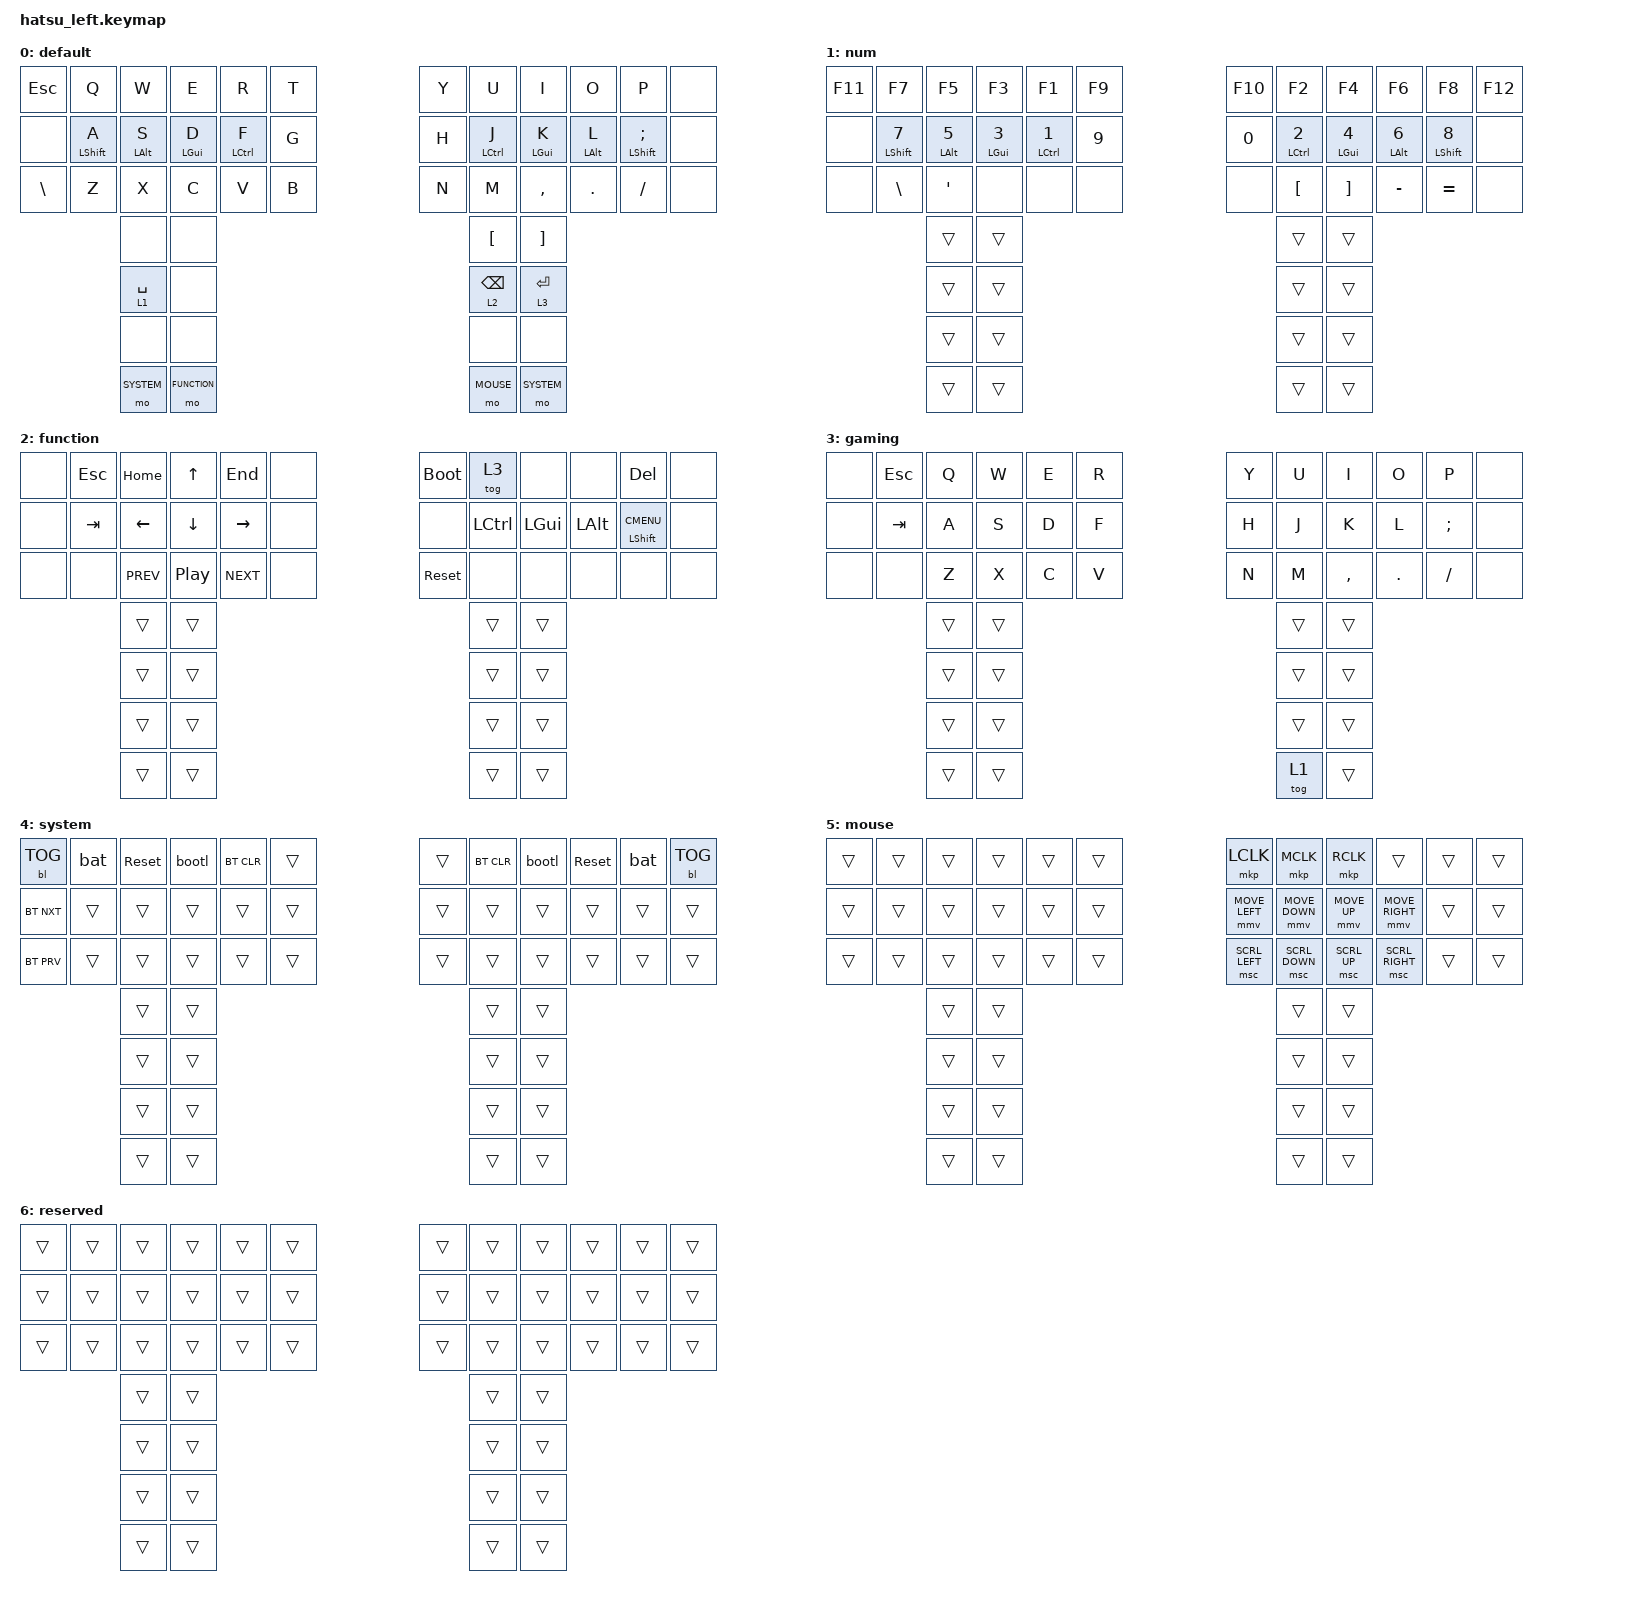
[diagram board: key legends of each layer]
#include <behaviors.dtsi>
#include <dt-bindings/zmk/keys.h>
#include <dt-bindings/zmk/outputs.h>
#include <dt-bindings/zmk/bt.h>
#include <dt-bindings/zmk/backlight.h>
#include <dt-bindings/zmk/pointing.h>

#define DEFAULT 0
#define FUNCTION 1
#define UPPER 2
#define LOWER 3
#define SYSTEM 4
#define MOUSE 5

/ {
    behaviors {
        bhm: bhm {
      compatible = "zmk,behavior-hold-tap";
      #binding-cells = <2>;
      tapping-term-ms = <200>;
      quick-tap-ms = <0>;
      flavor = "balanced";
      bindings = <&kp>, <&kp>;
    }; 

        bat: bat {
            compatible = "zmk,behavior-battery-indicator";
            display-name = "Battery Indicator";
            #binding-cells = <0>;
        };

        bootl: bootl {
            compatible = "hatsu,behavior-bootloader";
            display-name = "Bootloader";
            #binding-cells = <0>;
        };

        // Hidden GLOBAL behavior used to relay layer indicator colors to the
        // peripheral half; never bound to any key.
        lc: lc {
            compatible = "zmk,behavior-layer-color";
            display-name = "Layer Color Relay";
            #binding-cells = <0>;
        };
    };

    keymap {
        compatible = "zmk,keymap";
        layer_1 {
            label = "default";
            bindings = <
     		&kp ESC   &kp Q           &kp W         &kp E         &kp R         &kp T         &kp	Y       &kp U          &kp I         &kp O         &kp P &none
		&none  &bhm LSHIFT A   &bhm LALT S   &bhm LGUI D   &bhm LCTRL F  &kp G         &kp H       &bhm LCTRL J    &bhm LGUI K   &bhm LALT L   &bhm LSHIFT SEMI &none
		&kp BSLH  &kp Z           &kp X         &kp C         &kp V         &kp B         &kp N       &kp M           &kp CMMA      &kp DOT       &kp FSLH &none
                        &none &none                                 	 	&kp LBKT &kp RBKT
                        &lt 1 SPACE &none                           	&lt 2 BSPC &lt 3 ENTER
                        &none &none             	                     	&none 	 &none
                        &mo SYSTEM &mo FUNCTION                             	&mo MOUSE &mo SYSTEM
            >;
        };

        layer_2 {
            label = "num";
            bindings = <
        &kp F11 &kp F7         &kp F5        &kp F3        &kp F1        &kp F9        &kp F10     &kp F2          &kp  F4       &kp F6        &kp F8 &kp F12
        &none &bhm LSHIFT N7  &bhm LALT N5  &bhm LGUI N3  &bhm LCTRL N1 &kp N9        &kp N0      &bhm LCTRL N2   &bhm LGUI N4  &bhm LALT N6  &bhm LSHIFT N8 &none
        &none &kp BSLH        &kp SQT       &none         &none         &none         &none       &kp LBKT        &kp RBKT      &kp MINUS     &kp EQUAL &none
                        &trans &trans                                             &trans &trans
                        &trans &trans                                             &trans &trans
                        &trans &trans                                             &trans &trans
                        &trans &trans                                             &trans &trans
            >;
        };

        layer_3 {
            label = "function";
            bindings = <
        &none &kp ESC         &kp HOME      &kp UP        &kp END       &none         &bootloader	&tog 3          &none        &none         &kp DEL &none
        &none &kp TAB         &kp LEFT      &kp DOWN      &kp RIGHT     &none         &none       &kp LCTRL       &kp LGUI      &kp LALT      &bhm LSHIFT K_CMENU &none
        &none &none          &kp C_PREV    &kp C_PP      &kp C_NEXT    &none         &sys_reset  &none           &none         &none         &none &none
                        &trans &trans                                             &trans &trans
                        &trans &trans                                             &trans &trans
                        &trans &trans                                             &trans &trans
                        &trans &trans                                             &trans &trans
            >;
        };

        layer_4 {
            label = "gaming";
            bindings = <
            &none &kp ESC &kp Q &kp W &kp E &kp R           &kp Y &kp U &kp I &kp O &kp P &none
            &none &kp TAB &kp A &kp S &kp D &kp F     &kp H &kp J &kp K &kp L &kp SEMICOLON &none
            &none &none &kp Z &kp X &kp C &kp V         &kp N &kp M &kp COMMA &kp PERIOD &kp SLASH &none	                
	       		&trans &trans                                             &trans &trans
                        &trans &trans                                             &trans &trans
                        &trans &trans                                             &trans &trans
                        &trans &trans                                             &tog 1 &trans
            >;
        };

        layer_5 {
            label = "system";
            bindings = <
            &bl BL_TOG &bat &sys_reset &bootl &bt BT_CLR &trans                &trans &bt BT_CLR &bootl &sys_reset &bat &bl BL_TOG
            &bt BT_NXT &trans &trans &trans &trans &trans                &trans &trans &trans &trans &trans &trans
            &bt BT_PRV &trans &trans &trans &trans &trans                &trans &trans &trans &trans &trans &trans
                   &trans &trans                                                   &trans &trans
                   &trans &trans                                                   &trans &trans
                   &trans &trans                                                   &trans &trans
                   &trans &trans                                                   &trans &trans
            >;
        };

        layer_6 {
            label = "mouse";
            bindings = <
            &trans &trans &trans &trans &trans &trans                &mkp LCLK       &mkp MCLK       &mkp RCLK     &trans          &trans &trans
            &trans &trans &trans &trans &trans &trans                &mmv MOVE_LEFT  &mmv MOVE_DOWN  &mmv MOVE_UP  &mmv MOVE_RIGHT &trans &trans
            &trans &trans &trans &trans &trans &trans                &msc SCRL_LEFT  &msc SCRL_DOWN  &msc SCRL_UP  &msc SCRL_RIGHT &trans &trans
                        &trans &trans                                             &trans &trans
                        &trans &trans                                             &trans &trans
                        &trans &trans                                             &trans &trans
                        &trans &trans                                             &trans &trans
            >;
        };

        layer_7 {
            label = "reserved";
            bindings = <
            &trans &trans &trans &trans &trans &trans                &trans &trans &trans &trans &trans &trans
            &trans &trans &trans &trans &trans &trans                &trans &trans &trans &trans &trans &trans
            &trans &trans &trans &trans &trans &trans                &trans &trans &trans &trans &trans &trans
                        &trans &trans                                             &trans &trans
                        &trans &trans                                             &trans &trans
                        &trans &trans                                             &trans &trans
                        &trans &trans                                             &trans &trans
            >;
        };
    };

    chosen {
        zmk,layer-colors = &layer_colors;
    };

    layer_colors: layer_colors {
        compatible = "zmk,layer-colors";
        colors = <0x000000 0x00FFFF 0xFF00FF 0xFF8000 0x0000FF 0xFFFF00 0x000000>;
    };
};
